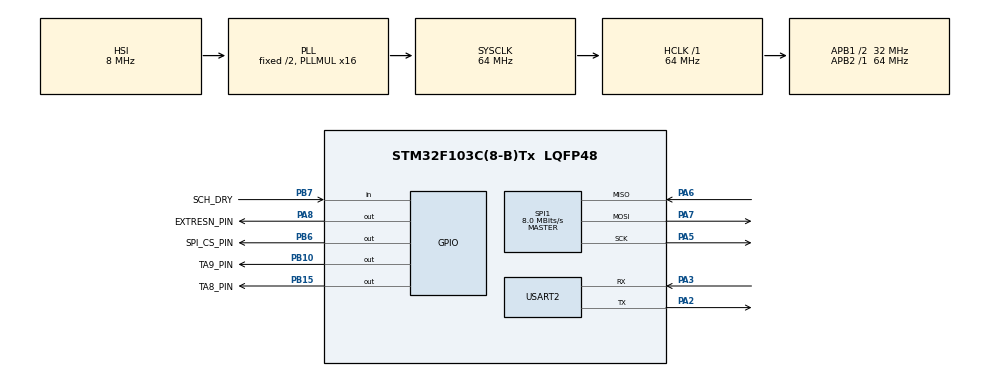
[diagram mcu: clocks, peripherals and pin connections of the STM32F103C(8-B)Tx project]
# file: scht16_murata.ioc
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Mcu.Family=STM32F1
Mcu.Name=STM32F103C(8-B)Tx
Mcu.Package=LQFP48
NVIC.PriorityGroup=NVIC_PRIORITYGROUP_4
NVIC.SPI1_IRQn=true\:0\:0\:false\:false\:true\:true\:true\:true
NVIC.TIM2_IRQn=true\:0\:0\:false\:false\:true\:true\:true\:true
NVIC.USART2_IRQn=true\:0\:0\:false\:false\:true\:true\:true\:true
PA13.Mode=Serial_Wire
PA13.Signal=SYS_JTMS-SWDIO
PA14.Mode=Serial_Wire
PA14.Signal=SYS_JTCK-SWCLK
PA2.Mode=Asynchronous
PA2.Signal=USART2_TX
PA3.Mode=Asynchronous
PA3.Signal=USART2_RX
PA5.Mode=Full_Duplex_Master
PA5.Signal=SPI1_SCK
PA6.Mode=Full_Duplex_Master
PA6.Signal=SPI1_MISO
PA7.Mode=Full_Duplex_Master
PA7.Signal=SPI1_MOSI
PA8.GPIO_Label=EXTRESN_PIN
PA8.GPIO_Speed=GPIO_SPEED_FREQ_HIGH
PA8.Signal=GPIO_Output
PB10.GPIO_Label=TA9_PIN
PB10.GPIO_Speed=GPIO_SPEED_FREQ_HIGH
PB10.Signal=GPIO_Output
PB15.GPIO_Label=TA8_PIN
PB15.GPIO_Speed=GPIO_SPEED_FREQ_HIGH
PB15.Signal=GPIO_Output
PB6.GPIO_Label=SPI_CS_PIN
PB6.GPIO_Speed=GPIO_SPEED_FREQ_HIGH
PB6.Signal=GPIO_Output
PB7.GPIO_Label=SCH_DRY
PB7.GPIO_PuPd=GPIO_PULLUP
PB7.Signal=GPIO_Input
ProjectManager.HeapSize=0x200
ProjectManager.StackSize=0x400
ProjectManager.TargetToolchain=STM32CubeIDE
RCC.AHBFreq_Value=64000000
RCC.APB1CLKDivider=RCC_HCLK_DIV2
RCC.APB1Freq_Value=32000000
RCC.APB1TimFreq_Value=64000000
RCC.APB2Freq_Value=64000000
RCC.APB2TimFreq_Value=64000000
RCC.HCLKFreq_Value=64000000
RCC.PLLMUL=RCC_PLL_MUL16
RCC.SYSCLKFreq_VALUE=64000000
RCC.SYSCLKSource=RCC_SYSCLKSOURCE_PLLCLK
RCC.USBFreq_Value=64000000
SPI1.BaudRatePrescaler=SPI_BAUDRATEPRESCALER_8
SPI1.CLKPolarity=SPI_POLARITY_LOW
SPI1.CalculateBaudRate=8.0 MBits/s
SPI1.DataSize=SPI_DATASIZE_16BIT
SPI1.Direction=SPI_DIRECTION_2LINES
SPI1.Mode=SPI_MODE_MASTER
SPI1.VirtualType=VM_MASTER
TIM2.Period=1000-1
TIM2.Prescaler=64-1
USART2.VirtualMode=VM_ASYNC
VP_TIM2_VS_ClockSourceINT.Mode=Internal
board=custom

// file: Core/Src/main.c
/* USER CODE BEGIN Header */
/**
  ******************************************************************************
  * @file           : main.c
  * @brief          : Main program body
  ******************************************************************************
  * @attention
  *
  * Copyright (c) 2025 STMicroelectronics.
  * All rights reserved.
  *
  * This software is licensed under terms that can be found in the LICENSE file
  * in the root directory of this software component.
  * If no LICENSE file comes with this software, it is provided AS-IS.
  *
  ******************************************************************************
  */
/* USER CODE END Header */
#include "main.h"
#include "spi.h"
#include "tim.h"
#include "usart.h"
#include "gpio.h"

/* USER CODE BEGIN Includes */
#include "hw.h"
#include "SCH1.h"
#include "Timer.h"
#include "config.h"
/* USER CODE END Includes */

/* USER CODE BEGIN PM */
#define RING_BUFFER_SIZE    4   // Amount of samples to store in ring buffer
SCH1_result DataSCH16;
// stdout_init is required for IO-redirection in Keil uVision, see
// https://www.keil.com/pack/doc/compiler/RetargetIO/html/_retarget__examples__u_a_r_t.html

    // htim2 (TIM2) is used as sampling timer for SCH1600
static volatile bool SCH1_error_available = false;
 SCH1_raw_data SCH1_summed_data_buffer[RING_BUFFER_SIZE];
 uint32_t ring_buffer_idx_wr = 0;
 uint32_t ring_buffer_idx_rd = 0;

// Function prototypes
static void SystemClock_Config(void);
static void sampling_callback(void);
static bool new_summed_data_available(void);
static bool inc_ring_buffer_wr_idx(void);
static void inc_ring_buffer_rd_idx(void);

typedef struct{
	int64_t Ax;
	int64_t Ay;
	int64_t Az;
	int64_t Gx;
	int64_t Gy;
	int64_t Gz;
	int64_t temp;
}Axis_t;

Axis_t SCH16TData;

/* USER CODE END PM */

void SystemClock_Config(void);
/* USER CODE BEGIN PFP */
char serial_num[15];
uint8_t flgTimer = 0;
SCH1_result Data;
/* USER CODE END PFP */

int main(void)
{

  /* USER CODE BEGIN 1 */

	    int  init_status;
	    SCH1_filter         Filter;
	    SCH1_sensitivity    Sensitivity;
	    SCH1_decimation     Decimation;
  /* USER CODE END 1 */

  /* MCU Configuration--------------------------------------------------------*/

  /* Reset of all peripherals, Initializes the Flash interface and the Systick. */
  HAL_Init();

  /* Configure the system clock */
  SystemClock_Config();

  /* USER CODE BEGIN SysInit */
  // Initialize IO-redirection
      //stdout_init();

      // Initialize demo board HW (STM Nucleo-F401RE)
      hw_init();
  /* USER CODE END SysInit */

  /* Initialize all configured peripherals */
  MX_GPIO_Init();
  MX_SPI1_Init();
  MX_USART2_UART_Init();
  MX_TIM2_Init();
  /* USER CODE BEGIN 2 */
  // SCH1600 filter settings
     Filter.Rate12 = FILTER_RATE;
     Filter.Acc12  = FILTER_ACC12;
     Filter.Acc3   = FILTER_ACC3;

     // SCH1600 sensitivity settings
     Sensitivity.Rate1 = SENSITIVITY_RATE1;
     Sensitivity.Rate2 = SENSITIVITY_RATE2;
     Sensitivity.Acc1  = SENSITIVITY_ACC1;
     Sensitivity.Acc2  = SENSITIVITY_ACC2;
     Sensitivity.Acc3  = SENSITIVITY_ACC3;

     // SCH1600 decimation settings (for Rate2 and Acc2 channels).
     Decimation.Rate2 = DECIMATION_RATE;
     Decimation.Acc2  = DECIMATION_ACC;

     // Initialize the sensor
     init_status = SCH1_init(Filter, Sensitivity, Decimation, false);
     if (init_status != SCH1_OK) {
      //   printf("ERROR: SCH1_init failed with code: %d\r\nApplication halted\r\n", init_status);
         HAL_Delay(10);
         while (true);
     }

      //Read serial number from the sensor.
      strcpy(serial_num, SCH1_getSnbr());
   //  printf("Serial number: %s\r\n\r\n", serial_num);

     // Start sampling timer at 1000 Hz
     //--------------------------------

     // With 1000 Hz sample rate and 10x averaging we get Output Data Rate (ODR) of 100 Hz.
      HAL_TIM_Base_Start_IT(&htim2);
     // sample_timer_init(sampling_callback, 1000);

  /* USER CODE END 2 */

  /* Infinite loop */
  /* USER CODE BEGIN WHILE */
  while (1)
  {
	  // Check if sampling_callback has new summed raw data for us to process.
	          if (new_summed_data_available())
	          {
	              // Start critical section

	              // Convert summed raw data from the ring buffer & calculate averages.

	              SCH1_convert_data(&SCH1_summed_data_buffer[ring_buffer_idx_rd], &Data);
	             // SCH1_convert_data(&SCH1_summed_data_buffer[ring_buffer_idx_rd], &DataSCH16);

	        	  //SCH1_convert_data(&SCH1_summed_data_buffer[ring_buffer_idx_rd], &DataSCH16);

	              // End critical section
	              inc_ring_buffer_rd_idx();

	              // Send converted data to UART
	              /*printf("GYRO(X,Y,Z)[dps]:%+.3f,%+.3f,%+.3f\t"
	                     "ACC(X,Y,Z)[m/s2]:%+.3f,%+.3f,%+.3f\t"
	                     "T[C]:%+.1f\r\n",
	                     Data.Rate1[AXIS_X], Data.Rate1[AXIS_Y], Data.Rate1[AXIS_Z],
	                     Data.Acc1[AXIS_X], Data.Acc1[AXIS_Y], Data.Acc1[AXIS_Z],
	                     Data.Temp);*/
	          }

	          // Handle possible sensor errors
	          if (SCH1_error_available) {

	              // Error from sensor. Stop sample timer to avoid race condition when reading status.
	              sample_timer_stop();
	              SCH1_error_available = false;

	              // Read SCH1600 status registers
	              SCH1_status Status;
	              SCH1_getStatus(&Status);

	              // Send status data to UART. Status registers are read in sampling_callback()
	             /* printf("STATUS:\tSUM:%4x\tSUM_SAT:%4x\tCOM:%4x\t"
	                     "RATE_COM:%4x\tRATE_X:%4x\tRATE_Y:%4x\tRATE_Z:%4x\t"
	                     "ACC_X:%4x\tACC_Y:%4x\tACC_Z:%4x\r\n",
	                  Status.Summary, Status.Summary_Sat, Status.Common,
	                  Status.Rate_Common, Status.Rate_X, Status.Rate_Y, Status.Rate_Z,
	                  Status.Acc_X, Status.Acc_Y, Status.Acc_Z);*/

	              // Restart sampling timer
	              sample_timer_start();
	          }

	          if(flgTimer)
	          {
	        	  flgTimer = 0;
	        	  sampling_callback();

	          }
    /* USER CODE END WHILE */

  }
}

void SystemClock_Config(void)
{
  RCC_OscInitTypeDef RCC_OscInitStruct = {0};
  RCC_ClkInitTypeDef RCC_ClkInitStruct = {0};

  /** Initializes the RCC Oscillators according to the specified parameters
  * in the RCC_OscInitTypeDef structure.
  */
  RCC_OscInitStruct.OscillatorType = RCC_OSCILLATORTYPE_HSI;
  RCC_OscInitStruct.HSIState = RCC_HSI_ON;
  RCC_OscInitStruct.HSICalibrationValue = RCC_HSICALIBRATION_DEFAULT;
  RCC_OscInitStruct.PLL.PLLState = RCC_PLL_ON;
  RCC_OscInitStruct.PLL.PLLSource = RCC_PLLSOURCE_HSI_DIV2;
  RCC_OscInitStruct.PLL.PLLMUL = RCC_PLL_MUL16;
  if (HAL_RCC_OscConfig(&RCC_OscInitStruct) != HAL_OK)
  {
    Error_Handler();
  }

  /** Initializes the CPU, AHB and APB buses clocks
  */
  RCC_ClkInitStruct.ClockType = RCC_CLOCKTYPE_HCLK|RCC_CLOCKTYPE_SYSCLK
                              |RCC_CLOCKTYPE_PCLK1|RCC_CLOCKTYPE_PCLK2;
  RCC_ClkInitStruct.SYSCLKSource = RCC_SYSCLKSOURCE_PLLCLK;
  RCC_ClkInitStruct.AHBCLKDivider = RCC_SYSCLK_DIV1;
  RCC_ClkInitStruct.APB1CLKDivider = RCC_HCLK_DIV2;
  RCC_ClkInitStruct.APB2CLKDivider = RCC_HCLK_DIV1;

  if (HAL_RCC_ClockConfig(&RCC_ClkInitStruct, FLASH_LATENCY_2) != HAL_OK)
  {
    Error_Handler();
  }
}

/* USER CODE BEGIN 4 */

static void sampling_callback(void)
{

	static SCH1_raw_data SCH1_data;
	static SCH1_raw_data SCH1_data_2;
    static uint32_t num_samples = 0;

    SCH1_getData(&SCH1_data);
    SCH1_getData_2(&SCH1_data_2);

    // Result averaging is done in main(), here we just sum up the raw data from sensor.
    SCH1_summed_data_buffer[ring_buffer_idx_wr].Rate1_raw[AXIS_X] += SCH1_data.Rate1_raw[AXIS_X];
    SCH1_summed_data_buffer[ring_buffer_idx_wr].Rate1_raw[AXIS_Y] += SCH1_data.Rate1_raw[AXIS_Y];
    SCH1_summed_data_buffer[ring_buffer_idx_wr].Rate1_raw[AXIS_Z] += SCH1_data.Rate1_raw[AXIS_Z];
    SCH1_summed_data_buffer[ring_buffer_idx_wr].Acc1_raw[AXIS_X]  += SCH1_data.Acc1_raw[AXIS_X];
    SCH1_summed_data_buffer[ring_buffer_idx_wr].Acc1_raw[AXIS_Y]  += SCH1_data.Acc1_raw[AXIS_Y];
    SCH1_summed_data_buffer[ring_buffer_idx_wr].Acc1_raw[AXIS_Z]  += SCH1_data.Acc1_raw[AXIS_Z];
    SCH1_summed_data_buffer[ring_buffer_idx_wr].Temp_raw          += SCH1_data.Temp_raw;

    // Result averaging is done in main(), here we just sum up the raw data from sensor.
       SCH1_summed_data_buffer[ring_buffer_idx_wr].Rate2_raw[AXIS_X] += SCH1_data_2.Rate2_raw[AXIS_X];
       SCH1_summed_data_buffer[ring_buffer_idx_wr].Rate2_raw[AXIS_Y] += SCH1_data_2.Rate2_raw[AXIS_Y];
       SCH1_summed_data_buffer[ring_buffer_idx_wr].Rate2_raw[AXIS_Z] += SCH1_data_2.Rate2_raw[AXIS_Z];
       SCH1_summed_data_buffer[ring_buffer_idx_wr].Acc2_raw[AXIS_X]  += SCH1_data_2.Acc2_raw[AXIS_X];
       SCH1_summed_data_buffer[ring_buffer_idx_wr].Acc2_raw[AXIS_Y]  += SCH1_data_2.Acc2_raw[AXIS_Y];
       SCH1_summed_data_buffer[ring_buffer_idx_wr].Acc2_raw[AXIS_Z]  += SCH1_data_2.Acc2_raw[AXIS_Z];
       SCH1_summed_data_buffer[ring_buffer_idx_wr].Temp_raw          += SCH1_data_2.Temp_raw;

    if (SCH1_data.frame_error)
        SCH1_error_available = true;

    if (++num_samples >= AVG_FACTOR) {
        num_samples = 0;
        if (inc_ring_buffer_wr_idx() == true) {
            // Clear data at next write index of summed raw data
            memset(&SCH1_summed_data_buffer[ring_buffer_idx_wr], 0x00, sizeof(SCH1_summed_data_buffer) / RING_BUFFER_SIZE);
        }
    }
}

void HAL_TIM_PeriodElapsedCallback(TIM_HandleTypeDef *htim) {

    // htim2 (TIM2) is the sampling timer
    if (htim == &htim2)
    {
    	flgTimer = 1;
    }
    	  // Call sampling function
}
/**
 * @brief Check if there is new data available for main() to process, by comparing ring buffer
 *        read and write pointers. Called by main()
 *
 * @param None
 *
 * @return true = new data available
 *         false = no new data available
 */
static bool new_summed_data_available(void)
{
    volatile uint32_t wr_idx_tmp = ring_buffer_idx_wr;
    if (wr_idx_tmp != ring_buffer_idx_rd)
        return true;

    return false;
}

/**
 * @brief Increment summed data ring buffer write pointer. Called by sampling_callback().
 *
 * @param None
 *
 * @return true = successfully incremented pointer
 *         false = couldn't increment pointer due to main() being late
 */
static bool inc_ring_buffer_wr_idx(void)
{
    volatile uint32_t new_idx = ring_buffer_idx_wr;

    new_idx++;
    if (new_idx >= RING_BUFFER_SIZE)
        new_idx = 0;

    // Don't add data to ring buffer if there is no free space
    if (new_idx == ring_buffer_idx_rd) {
        return false;
    }

    ring_buffer_idx_wr = new_idx;
    return true;
}

/**
 * @brief Increment summed data ring buffer read pointer. Called by main()
 *
 * @param None
 *
 * @return None
 */
static void inc_ring_buffer_rd_idx(void)
{
    volatile uint32_t new_idx = ring_buffer_idx_rd;

    new_idx++;
    if (new_idx >= RING_BUFFER_SIZE)
        new_idx = 0;

    ring_buffer_idx_rd = new_idx;
}
/* USER CODE END 4 */

void Error_Handler(void)
{
  __disable_irq();
  while (1)
  {
  }
}
